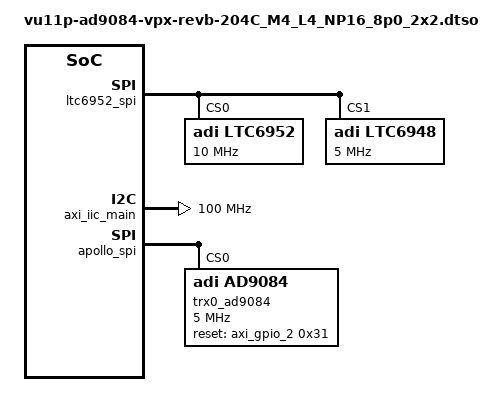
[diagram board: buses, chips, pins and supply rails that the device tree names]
/dts-v1/;
/plugin/;

#include <dt-bindings/iio/adc/adi,ad9088.h>
#include <dt-bindings/jesd204/adxcvr.h>

// Parameters for AD9084 device profile
#define DEVICE_PROFILE_NAME	"id01_uc47_ffsom_8G.bin"

#define OUT_CLK_SELECT		XCVR_PROGDIV_CLK

#define ASYNM_A_B_MODE		1

#define HSCI_ENABLE		0

#define WITH_AION		0

#define VU11_FIRMWARE_NAME	"vu11p.bin"

#define JESD_SUBCLASS 0

&vu11p_fpga_region {
	#address-cells = <2>;
	#size-cells = <2>;

	firmware-name = VU11_FIRMWARE_NAME;

	mig_clkout1: clock@0 {
		#clock-cells = <0>;
		clock-frequency = <100000000>;
		clock-output-names = "vu11p_mig_1";
		compatible = "fixed-clock";
	};

	clkin_125: clock@1 {
		#clock-cells = <0>;
		clock-frequency = <125000000>;
		clock-output-names = "clkin_ref";
		compatible = "fixed-clock";
	};

	clkin_8000: clock@2 {
		#clock-cells = <0>;
		clock-frequency = <8000000000>;
		clock-output-names = "apollo_sample_clock";
		compatible = "fixed-clock";
	};

	clkin_250: clock@3 {
		#clock-cells = <0>;
		clock-frequency = <250000000>;
		clock-output-names = "clkin_mul2_ref";
		compatible = "fixed-clock";
	};

	axi_intc_0: interrupt-controller@88160000 {
		#interrupt-cells = <2>;
		clock-names = "mig_clkout1";
		clocks = <&mig_clkout1>;
		compatible = "xlnx,axi-intc-4.1", "xlnx,xps-intc-1.00.a";
		interrupt-controller;
		interrupt-names = "irq";
		interrupt-parent = <&gic>;
		interrupts = <0 104 4>;
		reg = <0x0 0x88160000 0x0 0x1000>;
		xlnx,kind-of-intr = <0xffe0385>;
		xlnx,num-intr-inputs = <19>;
	};

	ltc6952_spi: spi@881a0000 {
		bits-per-word = <8>;
		compatible = "xlnx,axi-quad-spi-3.2", "xlnx,xps-spi-2.00.a";
		fifo-size = <16>;
		interrupt-names = "ip2intc_irpt";
		interrupt-parent = <&axi_intc_0>;
		interrupts = <9 0>;
		num-cs = <2>;
		reg = <0x0 0x881A0000 0x0 0x1000>;
		xlnx,num-ss-bits = <0x2>;
		xlnx,spi-mode = <0>;

		#address-cells = <1>;
		#size-cells = <0>;

		ltc6952: ltc6952@0 {
			compatible = "adi,ltc6952";
			reg = <0>;
			#address-cells = <1>;
			#size-cells = <0>;
			spi-max-frequency = <10000000>;
			label = "ltc6952";

			clocks = <&clkin_125> , <&ltc6948>;
			clock-names = "clkin", "vcoin";
			vcoin-clock-scales = <1 10>;

			adi,vco-frequency-hz = <2500000000>;

			jesd204-device;
			#jesd204-cells = <2>;
#if WITH_AION
		    jesd204-inputs =
				<&adf4030 0 FRAMER_LINK_A0_RX>,
				<&adf4030 0 DEFRAMER_LINK_A0_TX>;
#else
			jesd204-sysref-provider;
#endif /* WITH_AION */

			clock-output-names = "ltc6952_0_out0", "ltc6952_0_out1",
				"ltc6952_0_out2", "ltc6952_0_out3", "ltc6952_0_out4",
				"ltc6952_0_out5", "ltc6952_0_out6", "ltc6952_0_out7",
				"ltc6952_0_out8", "ltc6952_0_out9", "ltc6952_0_out10";

			#clock-cells = <1>;

			adi,pulse-generator-mode = <2>; /* Four Pulses */
#if WITH_AION
			channel@0 {
				reg = <0>;
				adi,extended-name = "ADF4030_BSYNC0";
				adi,divider = <256>;
				adi,digital-delay = <0>;
				adi,analog-delay = <0>;
			};
#endif /* WITH_AION */
			channel@3 {
				reg = <3>;
				adi,extended-name = "VUP Core CLK"; // adsy1100_AD9084_RX_device_clk
				adi,divider = <10>;
				adi,digital-delay = <0>;
				adi,analog-delay = <0>;
			};
#ifndef WITH_AION
			channel@4 {
				reg = <4>;
				adi,extended-name = "VUP JESD SYSREF";
				adi,divider = <1280>;
				adi,digital-delay = <0>;
				adi,analog-delay = <0>;
				adi,sysref-mode = <0>;
				adi,jesd204-sysref-chan;
			};
			channel@5 {
				reg = <5>;
				adi,extended-name = "Apollo SYSREF";
				adi,divider = <1280>;
				adi,digital-delay = <0>;
				adi,analog-delay = <0>;
				adi,sysref-mode = <0>;
				adi,jesd204-sysref-chan;
			};
#endif /* !WITH_AION */
			channel@6 {
				reg = <6>;
				adi,extended-name = "JESD REF CLK 1"; // adsy1100_AD9084_RX_ref_clk
				adi,divider = <10>;
				adi,digital-delay = <0>;
				adi,analog-delay = <0>;
			};
			channel@7 {
				reg = <7>;
				adi,extended-name = "JESD REF CLK 2"; // adsy1100_AD9084_RX_ref_clk
				adi,divider = <10>;
				adi,digital-delay = <0>;
				adi,analog-delay = <0>;
			};
		};

		ltc6948: ltc6948@1 {
			#clock-cells = <0>;
			compatible = "adi,ltc6948";
			reg = <1>;
			spi-max-frequency = <5000000>;
			clocks = <&clkin_125>;
			clock-names = "clkin";
			clock-output-names = "ltc6948_out_clk";
			clock-scales = <1 10>;
		};
	};

#if WITH_AION
	adf4030_spi: spi@88260000 {
		bits-per-word = <8>;
		compatible = "xlnx,axi-quad-spi-3.2", "xlnx,xps-spi-2.00.a";
		fifo-size = <16>;
		interrupt-names = "ip2intc_irpt";
		interrupt-parent = <&axi_intc_0>;
		interrupts = <18 0>;
		num-cs = <1>;
		reg = <0x0 0x88260000 0x0 0x1000>;
		xlnx,num-ss-bits = <0x2>;
		xlnx,spi-mode = <0>;

		#address-cells = <1>;
		#size-cells = <0>;

		adf4030: adf4030@0 {
			#clock-cells = <1>;
			compatible = "adi,adf4030";
			reg = <0>;

			#address-cells = <1>;
			#size-cells = <0>;
			#io-channel-cells = <1>;

			spi-max-frequency = <1000000>;
			adi,spi-3wire-enable;

			clocks = <&clkin_250>;
			clock-names = "refin";
			clock-output-names = "adf4030_bsync_0", "adf4030_bsync_1",
				"adf4030_bsync_2", "adf4030_bsync_3", "adf4030_bsync_4",
				"adf4030_bsync_5", "adf4030_bsync_6", "adf4030_bsync_7",
				"adf4030_bsync_8", "adf4030_bsync_9";
			label = "adf4030";

			jesd204-device;
			#jesd204-cells = <2>;
			jesd204-sysref-provider;

			adi,vco-frequency-hz = <2500000000>; /* 2.5 GHz */
			adi,bsync-frequency-hz = <9765625>;
			adi,bsync-autoalign-reference-channel = <0>;
			adi,bsync-autoalign-iteration-count = <6>;
			adi,bsync-secondary-frequency-hz = <9765625>;

			channel@0 {
				reg = <0>;
				adi,extended-name = "ADF4030_BSYNC0";
				auto-align-on-sync-en;
				adi,rcm = <62>; // LVDS
				adi,link-rx-en;
				adi,float-rx-en;
			};
			channel@1 {
				reg = <1>;
				adi,extended-name = "BSYNC1_APOLLO_SYSREF";
				auto-align-on-sync-en;
				adi,output-en;
				adi,input-output-reconfig-en;
				adi,rcm = <62>; // LVDS
				adi,link-rx-en;
				adi,float-rx-en;
			};
			channel@2 {
				reg = <2>;
				adi,extended-name = "BSYNC2_JESD_SYSREF";
				auto-align-on-sync-en;
				adi,output-en;
				adi,input-output-reconfig-en;
				adi,rcm = <62>;
				adi,link-rx-en;
				adi,float-rx-en;
			};
			channel@9 {
				reg = <9>;
				adi,extended-name = "ADF4030_BSYNC9";
				adi,output-en;
				auto-align-on-sync-en;
				adi,input-output-reconfig-en;
				adi,rcm = <62>;
			};
		};
	};
#endif 	/* WITH_AION */


	axi_gpio_0: gpio@88120000 {
		#gpio-cells = <2>;
		clock-frequency = <100000000>;
		clock-names = "s_axi_aclk";
		clocks = <&mig_clkout1>;
		compatible = "xlnx,axi-gpio-2.0", "xlnx,xps-gpio-1.00.a";
		gpio-controller ;
		reg = <0x0 0x88120000 0x0 0x10000>;
		xlnx,all-inputs = <0x0>;
		xlnx,all-inputs-2 = <0x0>;
		xlnx,all-outputs = <0x0>;
		xlnx,all-outputs-2 = <0x0>;
		xlnx,dout-default = <0x00000000>;
		xlnx,dout-default-2 = <0x00000000>;
		xlnx,gpio-width = <0x20>;
		xlnx,gpio2-width = <0x20>;
		xlnx,interrupt-present = <0x0>;
		xlnx,is-dual = <0x1>;
		xlnx,tri-default = <0xFFFFFFFF>;
		xlnx,tri-default-2 = <0xFFFFFFFF>;
	};

	axi_gpio_1: gpio@88130000 {
		#gpio-cells = <2>;
		clock-frequency = <100000000>;
		clock-names = "s_axi_aclk";
		clocks = <&mig_clkout1>;
		compatible = "xlnx,axi-gpio-2.0", "xlnx,xps-gpio-1.00.a";
		gpio-controller ;
		reg = <0x0 0x88130000 0x0 0x10000>;
		xlnx,all-inputs = <0x0>;
		xlnx,all-inputs-2 = <0x0>;
		xlnx,all-outputs = <0x0>;
		xlnx,all-outputs-2 = <0x0>;
		xlnx,dout-default = <0x00000000>;
		xlnx,dout-default-2 = <0x00000000>;
		xlnx,gpio-width = <0x20>;
		xlnx,gpio2-width = <0x20>;
		xlnx,interrupt-present = <0x0>;
		xlnx,is-dual = <0x1>;
		xlnx,tri-default = <0xFFFFFFFF>;
		xlnx,tri-default-2 = <0xFFFFFFFF>;
	};

	axi_gpio_2: gpio@88140000 {
		#gpio-cells = <2>;
		clock-frequency = <100000000>;
		clock-names = "s_axi_aclk";
		clocks = <&mig_clkout1>;
		compatible = "xlnx,axi-gpio-2.0", "xlnx,xps-gpio-1.00.a";
		gpio-controller;
		reg = <0x0 0x88140000 0x0 0x10000>;
		xlnx,all-inputs = <0x0>;
		xlnx,all-inputs-2 = <0x0>;
		xlnx,all-outputs = <0x0>;
		xlnx,all-outputs-2 = <0x0>;
		xlnx,dout-default = <0x00000000>;
		xlnx,dout-default-2 = <0x00000000>;
		xlnx,gpio-width = <0x20>;
		xlnx,gpio2-width = <0x13>;
		xlnx,interrupt-present = <0x0>;
		xlnx,is-dual = <0x1>;
		xlnx,tri-default = <0xFFFFFFFF>;
		xlnx,tri-default-2 = <0xFFFFFFFF>;
	};

	axi_iic_main: i2c@88150000 {
		clock-frequency = <100000000>;
		clocks = <&mig_clkout1>;
		compatible = "xlnx,axi-iic-2.1", "xlnx,xps-iic-2.00.a";
		interrupt-names = "iic2intc_irpt";
		interrupt-parent = <&axi_intc_0>;
		interrupts = <1 2>;
		reg = <0x0 0x88150000 0x0 0x10000>;
	};

	axi_sysid_0: axi_sysid@42000000 {
		compatible = "adi,axi-sysid-1.00.a";
		reg = <0x0 0x88170000 0x0 0x1000>;
	};

	rx_dma: dma@88090000 {
		compatible = "adi,axi-dmac-1.00.a";
		reg = <0x0 0x88090000 0x0 0x10000>;
		#dma-cells = <1>;
		#clock-cells = <0>;
		interrupt-parent = <&axi_intc_0>;
		interrupts = <3 2>;
		clocks = <&mig_clkout1>;
		memory-region = <&vu11p_ddr_dma>;
	};

	tx_dma: dma@880f0000  {
		compatible = "adi,axi-dmac-1.00.a";
		reg = <0x0 0x880F0000 0x0 0x10000>;
		#dma-cells = <1>;
		#clock-cells = <0>;
		interrupt-parent = <&axi_intc_0>;
		interrupts = <4 2>;
		clocks = <&mig_clkout1>;
		memory-region = <&vu11p_ddr_dma>;
	};

	axi_data_offload_rx: data_offload_rx@88020000 {
		compatible = "adi,axi-data-offload-1.0.a";
		reg = <0x0 0x88020000 0x0 0x10000>;
	};

	axi_data_offload_tx: data_offload_tx@88050000 {
		compatible = "adi,axi-data-offload-1.0.a";
		reg = <0x0 0x88050000 0x0 0x10000>;
	};

	axi_ad9084_adxcvr_rx: axi-adxcvr-rx@880b0000 {
		#address-cells = <1>;
		#size-cells = <0>;
		compatible = "adi,axi-adxcvr-1.0";
		reg = <0x0 0x880B0000 0x0 0x1000>;

		clocks = <&ltc6952 7>; /* div40 is controlled by axi_ad9084_rx_jesd */
		clock-names = "conv";

		#clock-cells = <1>;
		clock-output-names = "rx_gt_clk", "rx_out_clk";

		adi,sys-clk-select = <XCVR_QPLL1>;
		adi,out-clk-select = <OUT_CLK_SELECT>;
		adi,use-lpm-enable;

		jesd204-device;
		#jesd204-cells = <2>;
		jesd204-inputs =  <&ltc6952 0 FRAMER_LINK_A0_RX>;
	};

	axi_ad9084_adxcvr_tx: axi-adxcvr-tx@88110000 {
		#address-cells = <1>;
		#size-cells = <0>;
		compatible = "adi,axi-adxcvr-1.0";
		reg = <0x0 0x88110000 0x0 0x1000>;

		clocks = <&ltc6952 7>; /* div40 is controlled by axi_ad9084_tx_jesd */
		clock-names = "conv";

		#clock-cells = <1>;
		clock-output-names = "tx_gt_clk", "tx_out_clk";

		adi,sys-clk-select = <XCVR_QPLL1>;
		adi,out-clk-select = <OUT_CLK_SELECT>; /* XCVR_PROGDIV_CLK */

		jesd204-device;
		#jesd204-cells = <2>;
		jesd204-inputs =  <&ltc6952 0 DEFRAMER_LINK_A0_TX>;
	};

	axi_ad9084_rx_jesd: axi-jesd204-rx@880a0000 {
		compatible = "adi,axi-jesd204-rx-1.0";
		reg = <0x0 0x880a0000 0x0 0x1000>;
		interrupt-parent = <&axi_intc_0>;
		interrupts = <5 2>;

		clocks = <&mig_clkout1>, <&axi_ad9084_adxcvr_rx 1>, <&ltc6952 3>, <&axi_ad9084_adxcvr_rx 0>;
		clock-names = "s_axi_aclk", "link_clk", "device_clk", "lane_clk";

		#clock-cells = <0>;
		clock-output-names = "jesd_rx_lane_clk";

		jesd204-device;
		#jesd204-cells = <2>;
		jesd204-inputs = <&axi_ad9084_adxcvr_rx 0 FRAMER_LINK_A0_RX>;
	};

	axi_ad9084_tx_jesd: axi-jesd204-tx@88100000 {
		compatible = "adi,axi-jesd204-tx-1.0";
		reg = <0x0 0x88100000 0x0 0x1000>;

		interrupt-parent = <&axi_intc_0>;
		interrupts = <6 2>;

		clocks = <&mig_clkout1>, <&axi_ad9084_adxcvr_tx 1>, <&ltc6952 3>, <&axi_ad9084_adxcvr_tx 0>;
		clock-names = "s_axi_aclk", "link_clk", "device_clk", "lane_clk";

		#clock-cells = <0>;
		clock-output-names = "jesd_tx_lane_clk";

		jesd204-device;
		#jesd204-cells = <2>;
		jesd204-inputs = <&axi_ad9084_adxcvr_tx 0 DEFRAMER_LINK_A0_TX>;
	};

	apollo_spi: spi@88030000 {
		bits-per-word = <8>;
		compatible = "xlnx,axi-quad-spi-3.2", "xlnx,xps-spi-2.00.a";
		fifo-size = <16>;
		interrupt-names = "ip2intc_irpt";
		interrupt-parent = <&axi_intc_0>;
		interrupts = <7 0>;
		num-cs = <1>;
		reg = <0x0 0x88030000 0x0 0x1000>;
		xlnx,num-ss-bits = <0x1>;
		xlnx,spi-mode = <0>;

		#address-cells = <1>;
		#size-cells = <0>;

		trx0_ad9084: ad9084@0 {
			#address-cells = <1>;
			#size-cells = <0>;
			compatible = "adi,ad9084";
			reg = <0>;
			spi-max-frequency = <5000000>;

			/* Clocks */
			clocks = <&clkin_8000 0>;
			clock-names = "dev_clk";
			dev_clk-clock-scales = <1 10>;

			clock-output-names = "rx_sampl_clk", "tx_sampl_clk";
			#clock-cells = <1>;

#if HSCI_ENABLE
			adi,axi-hsci-connected = <&axi_hsci>;
			adi,hsci-auto-linkup-mode-en;
			adi,hsci-disable-after-boot-en;
#endif

			jesd204-device;
			#jesd204-cells = <2>;
			jesd204-top-device = <0>; /* This is the TOP device */
			jesd204-ignore-errors;

#ifdef ASYNM_A_B_MODE
			jesd204-link-ids = <DEFRAMER_LINK_A0_TX DEFRAMER_LINK_B0_TX FRAMER_LINK_A0_RX FRAMER_LINK_B0_RX>;

			jesd204-inputs =
				<&axi_ad9084_core_rx 0 FRAMER_LINK_A0_RX>,
				<&axi_ad9084_rx_jesd_b 0 FRAMER_LINK_B0_RX>,
				<&axi_ad9084_core_tx 0 DEFRAMER_LINK_A0_TX>,
				<&axi_ad9084_core_tx_b 0 DEFRAMER_LINK_B0_TX>;

			adi,side-b-use-seperate-tpl-en;
#else
			jesd204-link-ids = <DEFRAMER_LINK_A0_TX FRAMER_LINK_A0_RX>;

			jesd204-inputs =
				<&axi_ad9084_core_rx 0 FRAMER_LINK_A0_RX>,
				<&axi_ad9084_core_tx 0 DEFRAMER_LINK_A0_TX>;
#endif

			reset-gpios = <&axi_gpio_2 0x31 0>;
			adi,device-profile-fw-name = DEVICE_PROFILE_NAME;

			adi,jrx0-physical-lane-mapping = <11 4  6 10 9 8 7 2 0 3 5 1>;
			adi,jtx0-logical-lane-mapping =  < 8 6 10 11 9 4 7 2 5 0 3 1>;
			adi,jrx1-physical-lane-mapping = <3 1 5 0 7 2 8  6 4  9 10 11>;
			adi,jtx1-logical-lane-mapping =  <0 2 1 4 3 5 6 10 7 11  8  9>;

			adi,subclass = <JESD_SUBCLASS>;

#if WITH_AION
			io-channels = <&adf4030 1>, <&adf4382 0>;
			io-channel-names = "bsync", "clk";
#endif /* WITH_AION */

			//adi,standalone-enable;
		};

	};

	axi_ad9084_core_rx: axi-ad9084-rx-hpc@881b0000 {
		compatible = "adi,axi-ad9081-rx-1.0";
		reg = <0x0 0x881B0000 0x0 0x1000>;
		dmas = <&rx_dma 0>;
		dma-names = "rx";
		spibus-connected = <&trx0_ad9084>;

		jesd204-device;
		#jesd204-cells = <2>;
		jesd204-inputs = <&axi_ad9084_rx_jesd 0 FRAMER_LINK_A0_RX>;
	};

	axi_ad9084_core_tx: axi-ad9084-tx-hpc@881d0000 {
		compatible = "adi,axi-ad9081-tx-1.0";
		reg = <0x0 0x881D0000 0x0 0x1000>;
		dmas = <&tx_dma 0>;
		dma-names = "tx";
		clocks = <&trx0_ad9084 1>;
		clock-names = "sampl_clk";
		spibus-connected = <&trx0_ad9084>;
		adi,axi-pl-fifo-enable;
		adi,axi-data-offload-connected = <&axi_data_offload_tx>;

		jesd204-device;
		#jesd204-cells = <2>;
		jesd204-inputs = <&axi_ad9084_tx_jesd 0 DEFRAMER_LINK_A0_TX>;
	};

#if HSCI_ENABLE
	hsci_clkgen: axi-clkgen@881F0000 {
		compatible = "adi,axi-clkgen-2.00.a";
		reg = <0x0 0x881F0000 0x0 0x1000>;
		#clock-cells = <0>;
		clocks = <&mig_clkout1>, <&mig_clkout1>;
		clock-names = "s_axi_aclk", "clkin1";
		clock-output-names = "hsci_clkgen";
	};

	axi_hsci: axi_hsci@88200000 {
		compatible = "adi,axi-hsci-1.0.a";
		reg = <0x0 0x88200000 0x0 0x40000>;
		clocks = <&hsci_clkgen>;
		clock-names = "pclk";
		adi,hsci-interface-speed-mhz = <800>;
	};
#endif

#ifdef ASYNM_A_B_MODE
	rx_dma_b: dma@88060000 {
		compatible = "adi,axi-dmac-1.00.a";
		reg = <0x0 0x88060000 0x0 0x10000>;
		#dma-cells = <1>;
		#clock-cells = <0>;
		interrupt-parent = <&axi_intc_0>;
		interrupts = <10 2>;
		clocks = <&mig_clkout1>;
		memory-region = <&vu11p_ddr_dma>;
	};

	tx_dma_b: dma@880c0000  {
		compatible = "adi,axi-dmac-1.00.a";
		reg = <0x0 0x880C0000 0x0 0x10000>;
		#dma-cells = <1>;
		#clock-cells = <0>;
		interrupt-parent = <&axi_intc_0>;
		interrupts = <11 2>;
		clocks = <&mig_clkout1>;
		memory-region = <&vu11p_ddr_dma>;

	};

	axi_ad9084_core_rx_b: axi-ad9084b-rx-b@881c0000 {
		compatible = "adi,axi-adc-tpl-so-10.0.a";
		reg = <0x0 0x881C0000 0x0 0x10000>;
		dmas = <&rx_dma_b 0>;
		dma-names = "rx";
		clocks = <&trx0_ad9084 0>; /* FIXME */
		clock-names = "sampl_clk";
		jesd204-device;
		#jesd204-cells = <2>;
		jesd204-inputs = <&axi_ad9084_rx_jesd_b 0 FRAMER_LINK_B0_RX>;
	};

	axi_ad9084_core_tx_b: axi-ad9084-tx-b@881e0000 {
		compatible = "adi,axi-ad9081-tx-1.0";
		reg = <0x0 0x881E0000 0x0 0x10000>;
		dmas = <&tx_dma_b 0>;
		dma-names = "tx";
		clocks = <&trx0_ad9084 1>; /* FIXME */
		clock-names = "sampl_clk";
		adi,axi-pl-fifo-enable;
		adi,axi-data-offload-connected = <&axi_data_offload_tx_b>;

		jesd204-device;
		#jesd204-cells = <2>;
		jesd204-inputs = <&axi_ad9084_tx_jesd_b 0 DEFRAMER_LINK_B0_TX>;
	};

	axi_ad9084_rx_jesd_b: axi-jesd204-rx-b@88070000 {
		compatible = "adi,axi-jesd204-rx-1.0";
		reg = <0x0 0x88070000 0x0 0x10000>;

		interrupt-parent = <&axi_intc_0>;
		interrupts = <12 2>;

		clocks = <&mig_clkout1>, <&axi_ad9084_adxcvr_rx_b 1>, <&ltc6952 3>, <&axi_ad9084_adxcvr_rx_b 0>;
		clock-names = "s_axi_aclk", "link_clk", "device_clk", "lane_clk";

		#clock-cells = <0>;
		clock-output-names = "jesd_rx_lane_clk_b";

		jesd204-device;
		#jesd204-cells = <2>;
		jesd204-inputs = <&axi_ad9084_adxcvr_rx_b 0 FRAMER_LINK_B0_RX>;
	};

	axi_ad9084_tx_jesd_b: axi-jesd204-tx-b@880d0000 {
		compatible = "adi,axi-jesd204-tx-1.0";
		reg = <0x0 0x880D0000 0x0 0x10000>;

		interrupt-parent = <&axi_intc_0>;
		interrupts = <13 2>;

		clocks = <&mig_clkout1>, <&axi_ad9084_adxcvr_tx_b 1>, <&ltc6952 3>, <&axi_ad9084_adxcvr_tx_b 0>;
		clock-names = "s_axi_aclk", "link_clk", "device_clk", "lane_clk";

		#clock-cells = <0>;
		clock-output-names = "jesd_tx_lane_clk_b";

		jesd204-device;
		#jesd204-cells = <2>;
		jesd204-inputs = <&axi_ad9084_adxcvr_tx_b 0 DEFRAMER_LINK_B0_TX>;
	};

	axi_ad9084_adxcvr_rx_b: axi-adxcvr-rx-b@88080000 {
		#address-cells = <1>;
		#size-cells = <0>;
		compatible = "adi,axi-adxcvr-1.0";
		reg = <0x0 0x88080000 0x0 0x10000>;

		clocks = <&ltc6952 6>; /* div40 is controlled by axi_ad9084_rx_jesd */
		clock-names = "conv";

		#clock-cells = <1>;
		clock-output-names = "rx_gt_clk_b", "rx_out_clk_b";

		adi,sys-clk-select = <XCVR_QPLL1>;
		adi,out-clk-select = <OUT_CLK_SELECT>;
		adi,use-lpm-enable;

		jesd204-device;
		#jesd204-cells = <2>;
		jesd204-inputs =  <&ltc6952 0 FRAMER_LINK_B0_RX>;
	};

	axi_ad9084_adxcvr_tx_b: axi-adxcvr-tx-b@880e0000 {
		#address-cells = <1>;
		#size-cells = <0>;
		compatible = "adi,axi-adxcvr-1.0";
		reg = <0x0 0x880E0000 0x0 0x10000>;

		clocks = <&ltc6952 6>; /* div40 is controlled by axi_ad9084_tx_jesd */
		clock-names = "conv";

		#clock-cells = <1>;
		clock-output-names = "tx_gt_clk_b", "tx_out_clk_b";

		adi,sys-clk-select = <XCVR_QPLL1>;
		adi,out-clk-select = <OUT_CLK_SELECT>; /* XCVR_PROGDIV_CLK */

		jesd204-device;
		#jesd204-cells = <2>;
		jesd204-inputs =  <&ltc6952 0 DEFRAMER_LINK_B0_TX>;
	};

	axi_data_offload_rx_b: data_offload_rx_b@88010000 {
		compatible = "adi,axi-data-offload-1.0.a";
		reg = <0x0 0x88010000 0x0 0x10000>;
	};

	axi_data_offload_tx_b: data_offload_tx_b@88040000 {
		compatible = "adi,axi-data-offload-1.0.a";
		reg = <0x0 0x88040000 0x0 0x10000>;
	};
#endif /* ASYNM_A_B_MODE */

	rfpc_one_bit_adc_dac: one-bit-adc-dac@0 {
		compatible = "adi,one-bit-adc-dac";
		#address-cells = <1>;
		#size-cells = <0>;
		status = "disabled";
	};
};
